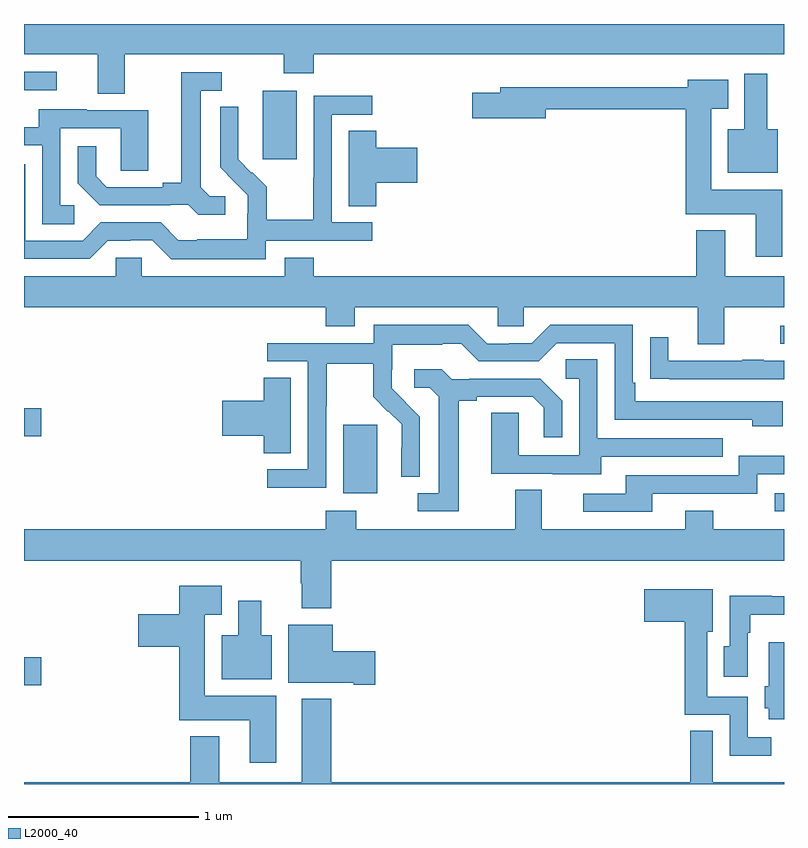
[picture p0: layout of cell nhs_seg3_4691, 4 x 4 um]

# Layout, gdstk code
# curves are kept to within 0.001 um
import gdstk
lib = gdstk.Library(unit=1e-6, precision=1e-09)
def R(c, l, rs):  # rectangles x0, y0, x1, y1
    for r in rs: c.add(gdstk.rectangle(r[:2], r[2:], *l))
def P(c, l, *ps):  # polygons
    for p in ps: c.add(gdstk.Polygon(p, *l))
L2000_40 = (2000, 40)

nhs_seg3_4691 = lib.new_cell('nhs_seg3_4691')
R(nhs_seg3_4691, L2000_40, [(363,706.919,363.091,707.066), (366.951,707.835,367,707.931), (364.679,707.93,364.858,708.291), (363,708.23,363.091,708.377), (366.981,708.717,367,708.813), (364.256,709.689,364.435,710.05), (363,710.052,363.172,710.148)])
P(nhs_seg3_4691, L2000_40, [(363.529,710.24),(364.366,710.24),(364.366,710.141),(364.526,710.141),(364.526,710.24),(367,710.24),(367,710.4),(363,710.4),(363,710.24),(363.389,710.24),(363.389,710.032),(363.529,710.032)],
  [(364.06,709.494),(363.978,709.494),(363.931,709.541),(363.931,710.049),(364.042,710.049),(364.042,710.145),(363.827,710.145),(363.827,709.565),(363.731,709.565),(363.731,709.542),(363.436,709.542),(363.379,709.599),(363.379,709.756),(363.282,709.756),(363.282,709.562),(363.398,709.446),(363.77,709.446),(363.77,709.449),(363.864,709.449),(363.916,709.397),(364.06,709.397)],
  [(366.967,709.846),(366.913,709.846),(366.913,710.137),(366.791,710.137),(366.791,709.846),(366.704,709.846),(366.704,709.616),(366.967,709.616)],
  [(366.991,709.528),(366.616,709.528),(366.616,709.955),(366.706,709.955),(366.706,710.107),(366.494,710.107),(366.494,710.068),(365.507,710.068),(365.507,710.038),(365.358,710.038),(365.358,709.904),(365.746,709.904),(365.746,709.951),(366.482,709.951),(366.482,709.4),(366.851,709.4),(366.851,709.176),(366.991,709.176)],
  [(364.272,709.26),(364.834,709.26),(364.834,709.356),(364.62,709.356),(364.62,709.923),(364.834,709.923),(364.834,710.022),(364.524,710.022),(364.524,709.592),(364.522,709.592),(364.522,709.369),(364.277,709.369),(364.277,709.543),(364.2,709.62),(364.197,709.617),(364.127,709.688),(364.128,709.964),(364.032,709.964),(364.032,709.646),(364.178,709.498),(364.178,709.401),(364.176,709.401),(364.176,709.267),(363.913,709.267),(363.913,709.263),(363.813,709.263),(363.72,709.356),(363.405,709.356),(363.309,709.26),(363.006,709.26),(363.006,709.662),(363,709.662),(363,709.164),(363.345,709.164),(363.441,709.26),(363.56,709.26),(363.56,709.263),(363.675,709.263),(363.775,709.163),(364.272,709.163)],
  [(363.265,709.446),(363.192,709.446),(363.192,709.851),(363.51,709.851),(363.51,709.627),(363.655,709.627),(363.655,709.947),(363.331,709.947),(363.331,709.951),(363.077,709.951),(363.077,709.857),(363,709.857),(363,709.761),(363.096,709.761),(363.096,709.345),(363.265,709.345)],
  [(364.853,709.565),(365.071,709.565),(365.071,709.748),(364.853,709.748),(364.853,709.838),(364.709,709.838),(364.709,709.441),(364.853,709.441)],
  [(366.685,708.908),(367,708.908),(367,709.072),(366.691,709.072),(366.691,709.315),(366.539,709.315),(366.539,709.072),(364.526,709.072),(364.526,709.171),(364.373,709.171),(364.373,709.072),(363.621,709.072),(363.621,709.17),(363.483,709.17),(363.483,709.072),(363,709.072),(363,708.908),(364.589,708.908),(364.589,708.809),(364.741,708.809),(364.741,708.908),(365.493,708.908),(365.493,708.81),(365.631,708.81),(365.631,708.908),(366.545,708.908),(366.545,708.714),(366.685,708.714)],
  [(364.59,708.388),(364.593,708.388),(364.593,708.612),(364.837,708.612),(364.837,708.437),(364.914,708.36),(364.917,708.363),(364.988,708.293),(364.988,708.17),(364.986,708.17),(364.986,708.016),(365.082,708.016),(365.082,708.334),(364.936,708.482),(364.936,708.579),(364.938,708.579),(364.938,708.713),(365.201,708.713),(365.201,708.717),(365.301,708.717),(365.394,708.624),(365.709,708.624),(365.805,708.72),(366.108,708.72),(366.108,708.318),(366.833,708.318),(366.833,708.284),(366.994,708.284),(366.994,708.414),(366.217,708.414),(366.217,708.511),(366.204,708.511),(366.204,708.816),(365.769,708.816),(365.673,708.72),(365.555,708.72),(365.555,708.717),(365.439,708.717),(365.339,708.817),(364.842,708.817),(364.842,708.72),(364.281,708.72),(364.281,708.624),(364.494,708.624),(364.494,708.057),(364.281,708.057),(364.281,707.959),(364.59,707.959)],
  [(367,708.627),(366.893,708.627),(366.893,708.632),(366.781,708.632),(366.781,708.627),(366.391,708.627),(366.391,708.751),(366.295,708.751),(366.295,708.532),(366.397,708.532),(366.397,708.531),(367,708.531)],
  [(366.037,708.123),(366.677,708.123),(366.677,708.219),(366.018,708.219),(366.018,708.635),(365.85,708.635),(365.85,708.534),(365.922,708.534),(365.922,708.129),(365.604,708.129),(365.604,708.353),(365.459,708.353),(365.459,708.033),(365.783,708.033),(365.783,708.029),(366.037,708.029)],
  [(365.287,708.416),(365.383,708.416),(365.383,708.438),(365.678,708.438),(365.735,708.381),(365.735,708.225),(365.832,708.225),(365.832,708.418),(365.716,708.534),(365.344,708.534),(365.344,708.531),(365.25,708.531),(365.198,708.583),(365.055,708.583),(365.055,708.486),(365.136,708.486),(365.183,708.439),(365.183,707.931),(365.073,707.931),(365.073,707.835),(365.287,707.835)],
  [(364.405,708.539),(364.262,708.539),(364.262,708.416),(364.044,708.416),(364.044,708.233),(364.262,708.233),(364.262,708.142),(364.405,708.142)],
  [(366.307,707.928),(366.858,707.928),(366.858,708.03),(367,708.03),(367,708.127),(366.762,708.127),(366.762,708.024),(366.167,708.024),(366.167,707.928),(365.943,707.928),(365.943,707.832),(366.307,707.832)],
  [(364.616,707.576),(367,707.576),(367,707.74),(366.627,707.74),(366.627,707.839),(366.479,707.839),(366.479,707.74),(365.725,707.74),(365.725,707.948),(365.585,707.948),(365.585,707.74),(364.749,707.74),(364.749,707.839),(364.589,707.839),(364.589,707.74),(363,707.74),(363,707.576),(364.456,707.576),(364.456,707.456),(364.463,707.456),(364.463,707.324),(364.616,707.324)],
  [(364.327,706.864),(363.952,706.864),(363.952,707.291),(364.042,707.291),(364.042,707.443),(363.818,707.443),(363.818,707.293),(363.6,707.293),(363.6,707.123),(363.818,707.123),(363.818,706.736),(364.187,706.736),(364.187,706.512),(364.327,706.512)],
  [(366.934,706.647),(366.81,706.647),(366.81,706.86),(366.595,706.86),(366.595,707.201),(366.625,707.201),(366.625,707.425),(366.264,707.425),(366.264,707.255),(366.477,707.255),(366.477,706.764),(366.714,706.764),(366.714,706.55),(366.934,706.55)],
  [(366.81,707.195),(366.823,707.195),(366.823,707.291),(367,707.291),(367,707.388),(366.935,707.388),(366.935,707.39),(366.714,707.39),(366.714,707.124),(366.683,707.124),(366.683,706.965),(366.81,706.965)],
  [(364.303,707.182),(364.249,707.182),(364.249,707.365),(364.127,707.365),(364.127,707.182),(364.04,707.182),(364.04,706.952),(364.303,706.952)],
  [(364.849,707.1),(364.624,707.1),(364.624,707.239),(364.391,707.239),(364.391,706.934),(364.736,706.934),(364.736,706.922),(364.849,706.922)],
  [(367,707.146),(366.92,707.146),(366.92,706.914),(366.899,706.914),(366.899,706.8),(366.92,706.8),(366.92,706.74),(367,706.74)],
  [(367,706.408),(366.625,706.408),(366.625,706.679),(366.507,706.679),(366.507,706.408),(364.616,706.408),(364.616,706.849),(364.463,706.849),(364.463,706.408),(364.027,706.408),(364.027,706.651),(363.875,706.651),(363.875,706.408),(363,706.408),(363,706.4),(367,706.4)])

lib.write_gds('nhs_seg3_4691.gds')
